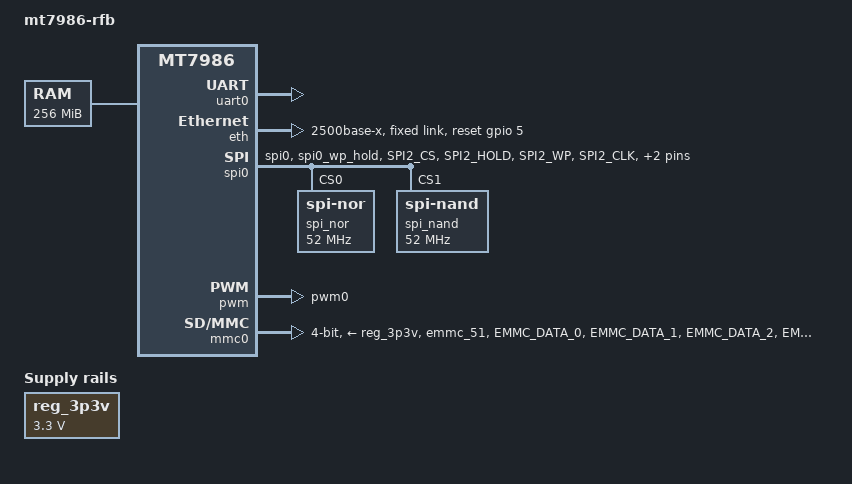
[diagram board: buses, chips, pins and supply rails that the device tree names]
// SPDX-License-Identifier: GPL-2.0
/*
 * Copyright (c) 2022 MediaTek Inc.
 * Author: Sam Shih <sam.shih@mediatek.com>
 */

/dts-v1/;
#include "mt7986.dtsi"
#include <dt-bindings/gpio/gpio.h>

/ {
	#address-cells = <1>;
	#size-cells = <1>;
	model = "mt7986-rfb";
	compatible = "mediatek,mt7986", "mediatek,mt7986-rfb",
		     "mediatek,mt7986-sd-rfb";
	chosen {
		stdout-path = &uart0;
		tick-timer = &timer0;
	};

	memory@40000000 {
		device_type = "memory";
		reg = <0x40000000 0x10000000>;
	};

	reg_3p3v: regulator-3p3v {
		compatible = "regulator-fixed";
		regulator-name = "fixed-3.3V";
		regulator-min-microvolt = <3300000>;
		regulator-max-microvolt = <3300000>;
		regulator-boot-on;
		regulator-always-on;
	};
};

&uart0 {
	status = "okay";
};

&uart1 {
	pinctrl-names = "default";
	pinctrl-0 = <&uart1_pins>;
	status = "disabled";
};

&eth {
	status = "okay";
	mediatek,gmac-id = <0>;
	phy-mode = "2500base-x";
	mediatek,switch = "mt7531";
	reset-gpios = <&gpio 5 GPIO_ACTIVE_HIGH>;

	fixed-link {
		speed = <2500>;
		full-duplex;
	};
};

&pinctrl {
	spi_flash_pins: spi0-pins-func-1 {
		mux {
			function = "flash";
			groups = "spi0", "spi0_wp_hold";
		};

		conf-pu {
			pins = "SPI2_CS", "SPI2_HOLD", "SPI2_WP";
			drive-strength = <MTK_DRIVE_8mA>;
			bias-pull-up = <MTK_PUPD_SET_R1R0_11>;
		};

		conf-pd {
			pins = "SPI2_CLK", "SPI2_MOSI", "SPI2_MISO";
			drive-strength = <MTK_DRIVE_8mA>;
			bias-pull-down = <MTK_PUPD_SET_R1R0_11>;
		};
	};

	spic_pins: spi1-pins-func-1 {
		mux {
			function = "spi";
			groups = "spi1_2";
		};
	};

	uart1_pins: spi1-pins-func-3 {
		mux {
			function = "uart";
			groups = "uart1_2";
		};
	};

	pwm_pins: pwm0-pins-func-1 {
		mux {
			function = "pwm";
			groups = "pwm0";
		};
	};

	mmc0_pins_default: mmc0default {
		mux {
			function = "flash";
			groups =  "emmc_51";
		};

		conf-cmd-dat {
			pins = "EMMC_DATA_0", "EMMC_DATA_1", "EMMC_DATA_2",
			       "EMMC_DATA_3", "EMMC_DATA_4", "EMMC_DATA_5",
			       "EMMC_DATA_6", "EMMC_DATA_7", "EMMC_CMD";
			input-enable;
			drive-strength = <MTK_DRIVE_4mA>;
			bias-pull-up = <MTK_PUPD_SET_R1R0_01>;
		};

		conf-clk {
			pins = "EMMC_CK";
			drive-strength = <MTK_DRIVE_6mA>;
			bias-pull-down = <MTK_PUPD_SET_R1R0_10>;
		};

		conf-dsl {
			pins = "EMMC_DSL";
			bias-pull-down = <MTK_PUPD_SET_R1R0_10>;
		};

		conf-rst {
			pins = "EMMC_RSTB";
			drive-strength = <MTK_DRIVE_4mA>;
			bias-pull-up = <MTK_PUPD_SET_R1R0_01>;
		};
	};
};

&spi0 {
	#address-cells = <1>;
	#size-cells = <0>;
	pinctrl-names = "default";
	pinctrl-0 = <&spi_flash_pins>;
	status = "okay";
	must_tx;
	enhance_timing;
	dma_ext;
	ipm_design;
	support_quad;
	tick_dly = <2>;
	sample_sel = <0>;

	spi_nor@0 {
		compatible = "jedec,spi-nor";
		reg = <0>;
		spi-max-frequency = <52000000>;
	};

	spi_nand@1 {
		compatible = "spi-nand";
		reg = <1>;
		spi-max-frequency = <52000000>;
	};
};

&pwm {
	pinctrl-names = "default";
	pinctrl-0 = <&pwm_pins>;
	status = "okay";
};

&watchdog {
	status = "disabled";
};

&mmc0 {
	pinctrl-names = "default";
	pinctrl-0 = <&mmc0_pins_default>;
	bus-width = <4>;
	max-frequency = <52000000>;
	cap-sd-highspeed;
	r_smpl = <1>;
	vmmc-supply = <&reg_3p3v>;
	vqmmc-supply = <&reg_3p3v>;
	status = "okay";
};
